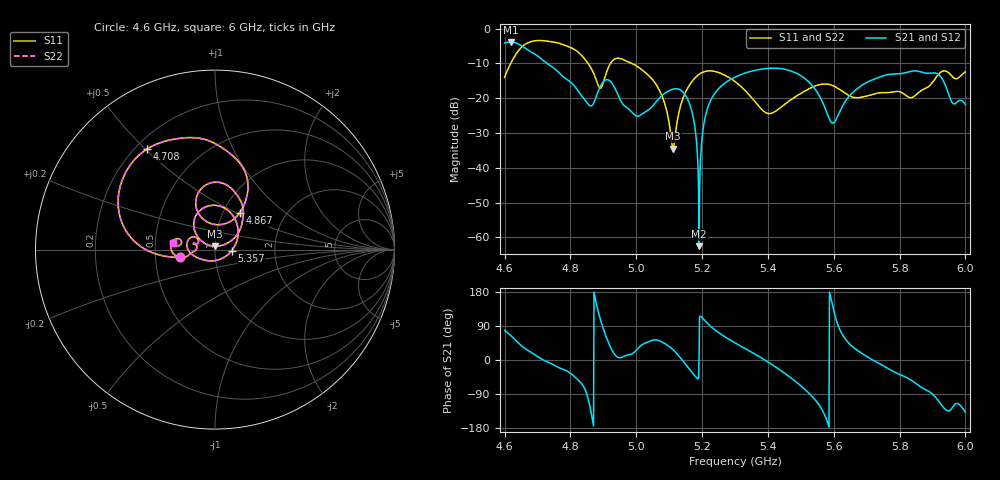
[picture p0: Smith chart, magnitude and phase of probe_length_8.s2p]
! TOUCHSTONE file generated by CST MICROWAVE STUDIO
! Date and time: Sat Nov 30 13:12:01 2024
! Project name: test_tuning.cst
! Parameters = {airCoaxOuterDiameter=3; chamferAngle=45; chamferWidth=24; connectorLength=10; drillingHoleDiameter=4.1; feedLength=60; flareDiameter=130; flareLength=70; gratingDistance=0; gratingGap=1.90274; outletLength=30; polarizerLength=134; probe1Diameter=1.3; probe1Distance=14; probe1Length=1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
! Header version: 2024
! Port assignment regex: !\s*Touchstone port\s*([0-9]+)\s*=\s*(CST MWS port|CST DES external port|CST DES block port)\s*(.+)\s* \(\"(.*)\"\)(\s*mode\s*([0-9]+))?.*
! Touchstone port assignment:
! Touchstone port 1 = CST MWS port 1 ("Input1")
! Touchstone port 2 = CST MWS port 2 ("Input2")
# GHz S MA R 50
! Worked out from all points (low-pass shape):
!   1001 points, 4.6 GHz to 6 GHz, reference 50 ohm
!   highest |S21| = -3.88 dB at 4.62 GHz (marker M1); lowest = -62.5 dB at 5.191 GHz (marker M2)
!   |S21| within 3 dB of the highest: start of sweep to 4.684 GHz
!   lowest |S11| = -34.5 dB at 5.112 GHz (marker M3), VSWR 1.04, Z = 49.8 + j1.87 ohm
!   |S11| at or under -10 dB: start of sweep to 4.618482 GHz; 4.854 GHz to 4.922 GHz (68 MHz wide, 1.39 % of centre); 4.987 GHz to end of sweep
!   |S22| runs from -34.5 to -3.4 dB; largest |S21 - S12| = 1.9e-06
!   S11 on the Smith chart (normalised r, x): 4.6 GHz: 0.67, -0.06; 4.708 GHz: 0.25, +0.51; 4.867 GHz: 1.20, +0.52; 5.357 GHz: 1.21, -0.01; 6 GHz: 0.62, +0.05
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4.6  0.1991 -167.5  0.6247 78.7  0.6247 78.7  0.1991 -167.5
4.6196  0.3238 -175.3  0.64 63.7  0.64 63.7  0.3238 -175.3
4.7078  0.6763 124.0  0.3801 4.9  0.3801 4.9  0.6763 124.0
4.8338  0.4133 63.7  0.1086 -62.2  0.1086 -62.2  0.4133 63.7
4.8674  0.2455 56.1  0.08022 -160.5  0.08022 -160.5  0.2455 56.1
4.8912  0.1394 87.5  0.1494 106.3  0.1494 106.3  0.1394 87.5
4.9108  0.2447 114.4  0.1844 56.3  0.1844 56.3  0.2447 114.4
5.0004  0.2919 58.7  0.05544 26.2  0.05544 26.2  0.2919 58.7
5.0676  0.1376 32.3  0.0974 51.6  0.0974 51.6  0.1376 32.3
5.1124  0.01884 93.9  0.1354 26.6  0.1354 26.6  0.01884 93.9
5.1642  0.1608 135.7  0.07715 -27.1  0.07715 -27.1  0.1608 135.7
5.1908  0.2205 117.9  0.000747 7.9  0.000747 7.9  0.2205 117.9
5.2048  0.239 107.3  0.04091 107.6  0.04091 107.6  0.239 107.3
5.2202  0.2469 95.7  0.08052 93.5  0.08052 93.5  0.2469 95.7
5.3  0.1735 42.6  0.2006 45.3  0.2006 45.3  0.1735 42.6
5.3574  0.09344 -3.7  0.2493 17.2  0.2493 17.2  0.09344 -3.7
5.4092  0.06043 -82.2  0.2701 -10.3  0.2701 -10.3  0.06043 -82.2
5.5338  0.1435 -175.0  0.1536 -95.7  0.1536 -95.7  0.1435 -175.0
5.5982  0.151 154.0  0.04386 137.6  0.04386 137.6  0.151 154.0
5.7676  0.1208 165.7  0.2195 -23.9  0.2195 -23.9  0.1208 165.7
5.9118  0.2018 -167.5  0.2275 -101.0  0.2275 -101.0  0.2018 -167.5
6  0.2385 170.7  0.08042 -137.6  0.08042 -137.6  0.2385 170.7
